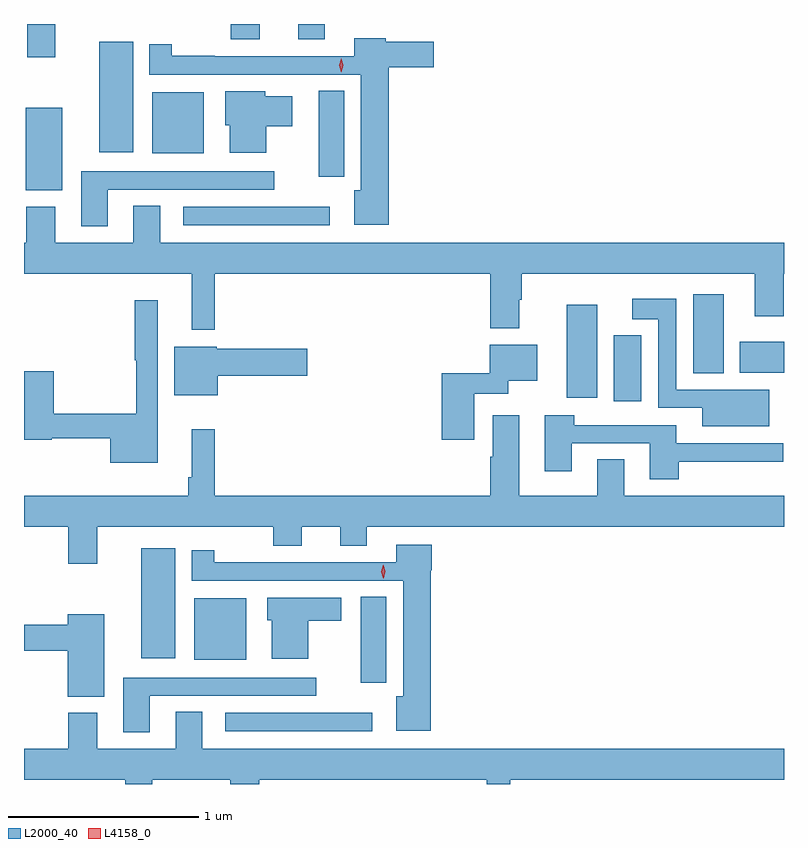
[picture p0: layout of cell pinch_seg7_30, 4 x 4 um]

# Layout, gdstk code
import gdstk
lib = gdstk.Library(unit=1e-6, precision=1e-09)
def R(c, l, rs):  # rectangles x0, y0, x1, y1
    for r in rs: c.add(gdstk.rectangle(r[:2], r[2:], *l))
def P(c, l, *ps):  # polygons
    for p in ps: c.add(gdstk.Polygon(p, *l))
L2000_40 = (2000, 40)
L4158_0 = (4158, 0)

pinch_seg7_30 = lib.new_cell('pinch_seg7_30')
R(pinch_seg7_30, L2000_40, [(1059.963,1051.488,1060.735,1051.584), (1060.676,1051.743,1060.81,1052.195), (1059.8,1051.865,1060.072,1052.188), (1059.521,1051.871,1059.7,1052.452), (1062.008,1053.225,1062.151,1053.571), (1061.759,1053.243,1061.92,1053.733), (1062.425,1053.371,1062.586,1053.787), (1062.671,1053.374,1062.903,1053.538), (1059.741,1054.152,1060.513,1054.248), (1058.912,1054.334,1059.103,1054.768), (1060.454,1054.407,1060.588,1054.859), (1059.578,1054.529,1059.85,1054.852), (1059.299,1054.535,1059.478,1055.116), (1058.92,1055.034,1059.067,1055.21), (1059.992,1055.129,1060.144,1055.21), (1060.346,1055.129,1060.486,1055.21)])
P(pinch_seg7_30, L2000_40, [(1060.823,1054.982),(1061.059,1054.982),(1061.059,1055.116),(1060.806,1055.116),(1060.806,1055.134),(1060.64,1055.134),(1060.64,1055.04),(1059.908,1055.04),(1059.908,1055.042),(1059.681,1055.042),(1059.681,1055.104),(1059.563,1055.104),(1059.563,1054.944),(1060.676,1054.944),(1060.676,1054.336),(1060.64,1054.336),(1060.64,1054.154),(1060.823,1054.154)],
  [(1060.177,1054.673),(1060.315,1054.673),(1060.315,1054.831),(1060.173,1054.831),(1060.173,1054.855),(1059.962,1054.855),(1059.962,1054.677),(1059.986,1054.677),(1059.986,1054.532),(1060.177,1054.532)],
  [(1059.343,1054.338),(1060.219,1054.338),(1060.219,1054.434),(1059.203,1054.434),(1059.203,1054.146),(1059.343,1054.146)],
  [(1059.907,1053.896),(1061.357,1053.896),(1061.357,1053.608),(1061.509,1053.608),(1061.509,1053.758),(1061.522,1053.758),(1061.522,1053.896),(1062.749,1053.896),(1062.749,1053.672),(1062.901,1053.672),(1062.901,1053.896),(1062.903,1053.896),(1062.903,1054.06),(1059.619,1054.06),(1059.619,1054.253),(1059.479,1054.253),(1059.479,1054.06),(1059.067,1054.06),(1059.067,1054.249),(1058.915,1054.249),(1058.915,1054.06),(1058.903,1054.06),(1058.903,1053.896),(1059.785,1053.896),(1059.785,1053.6),(1059.907,1053.6)],
  [(1062.826,1053.286),(1062.582,1053.286),(1062.582,1053.285),(1062.336,1053.285),(1062.336,1053.763),(1062.105,1053.763),(1062.105,1053.656),(1062.24,1053.656),(1062.24,1053.189),(1062.473,1053.189),(1062.473,1053.092),(1062.826,1053.092)],
  [(1059.607,1053.757),(1059.486,1053.757),(1059.486,1053.44),(1059.493,1053.44),(1059.493,1053.158),(1059.06,1053.158),(1059.06,1053.382),(1058.903,1053.382),(1058.903,1053.022),(1059.048,1053.022),(1059.048,1053.03),(1059.356,1053.03),(1059.356,1052.9),(1059.607,1052.9)],
  [(1061.272,1053.263),(1061.451,1053.263),(1061.451,1053.332),(1061.605,1053.332),(1061.605,1053.523),(1061.355,1053.523),(1061.355,1053.373),(1061.102,1053.373),(1061.102,1053.021),(1061.272,1053.021)],
  [(1059.922,1053.359),(1060.393,1053.359),(1060.393,1053.501),(1059.918,1053.501),(1059.918,1053.511),(1059.695,1053.511),(1059.695,1053.257),(1059.922,1053.257)],
  [(1062.35,1052.906),(1062.898,1052.906),(1062.898,1053.003),(1062.337,1053.003),(1062.337,1053.099),(1061.798,1053.099),(1061.798,1053.151),(1061.645,1053.151),(1061.645,1052.856),(1061.785,1052.856),(1061.785,1053.003),(1062.197,1053.003),(1062.197,1052.814),(1062.35,1052.814)],
  [(1058.903,1052.564),(1059.137,1052.564),(1059.137,1052.37),(1059.289,1052.37),(1059.289,1052.564),(1060.214,1052.564),(1060.214,1052.465),(1060.366,1052.465),(1060.366,1052.564),(1060.568,1052.564),(1060.568,1052.465),(1060.708,1052.465),(1060.708,1052.564),(1062.903,1052.564),(1062.903,1052.728),(1062.061,1052.728),(1062.061,1052.918),(1061.921,1052.918),(1061.921,1052.728),(1061.509,1052.728),(1061.509,1053.151),(1061.369,1053.151),(1061.369,1052.933),(1061.357,1052.933),(1061.357,1052.728),(1059.907,1052.728),(1059.907,1053.076),(1059.785,1053.076),(1059.785,1052.824),(1059.768,1052.824),(1059.768,1052.728),(1058.903,1052.728)],
  [(1061.045,1052.334),(1061.05,1052.334),(1061.05,1052.47),(1060.862,1052.47),(1060.862,1052.376),(1060.13,1052.376),(1060.13,1052.378),(1059.903,1052.378),(1059.903,1052.44),(1059.785,1052.44),(1059.785,1052.28),(1060.898,1052.28),(1060.898,1051.672),(1060.862,1051.672),(1060.862,1051.49),(1061.045,1051.49)],
  [(1060.399,1052.069),(1060.573,1052.069),(1060.573,1052.191),(1060.184,1052.191),(1060.184,1052.073),(1060.208,1052.073),(1060.208,1051.868),(1060.399,1051.868)],
  [(1059.325,1052.104),(1059.134,1052.104),(1059.134,1052.048),(1058.903,1052.048),(1058.903,1051.912),(1059.134,1051.912),(1059.134,1051.67),(1059.325,1051.67)],
  [(1059.565,1051.674),(1060.441,1051.674),(1060.441,1051.77),(1059.425,1051.77),(1059.425,1051.482),(1059.565,1051.482)],
  [(1059.701,1051.589),(1059.701,1051.396),(1059.289,1051.396),(1059.289,1051.585),(1059.137,1051.585),(1059.137,1051.396),(1058.903,1051.396),(1058.903,1051.232),(1059.437,1051.232),(1059.437,1051.21),(1059.577,1051.21),(1059.577,1051.232),(1059.989,1051.232),(1059.989,1051.21),(1060.142,1051.21),(1060.142,1051.232),(1061.339,1051.232),(1061.339,1051.21),(1061.461,1051.21),(1061.461,1051.232),(1062.903,1051.232),(1062.903,1051.396),(1059.841,1051.396),(1059.841,1051.589)])
P(pinch_seg7_30, L4158_0, [(1060.795,1052.293),(1060.784,1052.328),(1060.793,1052.364),(1060.793,1052.365),(1060.793,1052.364),(1060.804,1052.329),(1060.796,1052.293),(1060.796,1052.293)],
  [(1060.572,1054.957),(1060.572,1054.957),(1060.562,1054.993),(1060.572,1055.028),(1060.572,1055.029),(1060.573,1055.028),(1060.582,1054.993),(1060.573,1054.957)])

lib.write_gds('pinch_seg7_30.gds')
